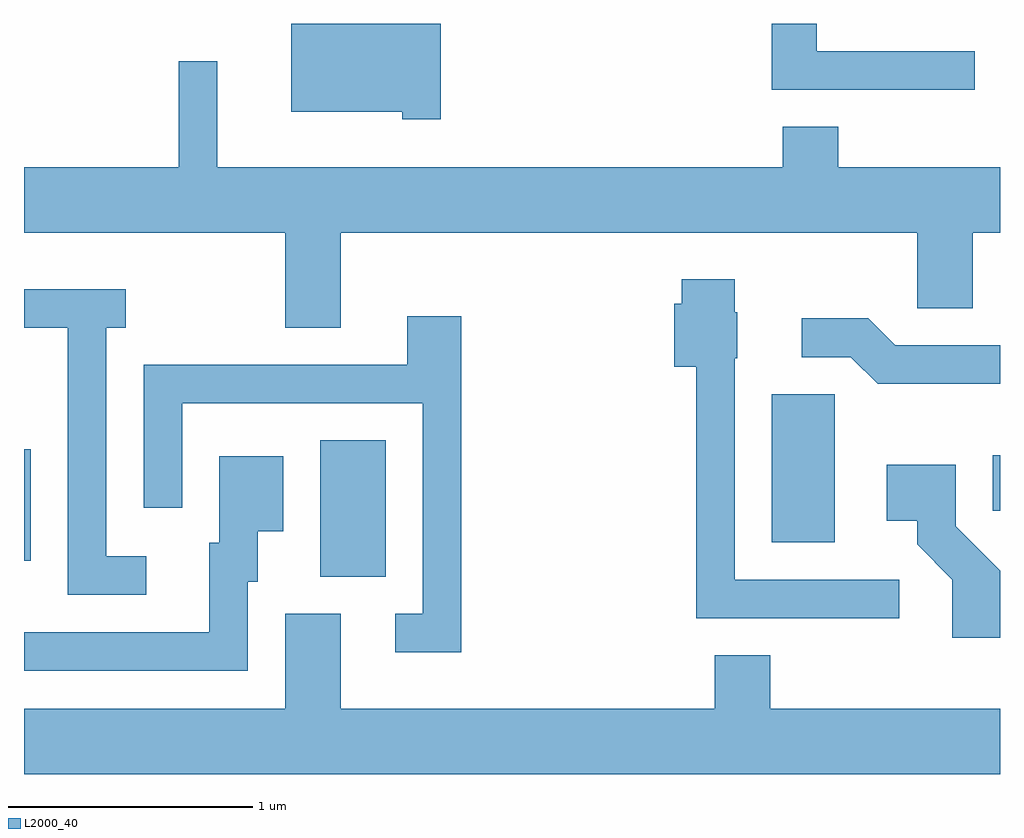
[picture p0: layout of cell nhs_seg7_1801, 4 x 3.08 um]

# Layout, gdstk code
import gdstk
lib = gdstk.Library(unit=1e-6, precision=1e-09)
def R(c, l, rs):  # rectangles x0, y0, x1, y1
    for r in rs: c.add(gdstk.rectangle(r[:2], r[2:], *l))
def P(c, l, *ps):  # polygons
    for p in ps: c.add(gdstk.Polygon(p, *l))
L2000_40 = (2000, 40)

nhs_seg7_1801 = lib.new_cell('nhs_seg7_1801')
R(nhs_seg7_1801, L2000_40, [(240.826,1743.986,241.094,1744.544), (239.611,1744.051,239.639,1744.509), (242.676,1744.126,242.934,1744.734), (243.581,1744.256,243.611,1744.484)])
P(nhs_seg7_1801, L2000_40, [(243.508,1746.139),(242.859,1746.139),(242.859,1746.252),(242.676,1746.252),(242.676,1745.981),(243.508,1745.981)],
  [(241.319,1746.252),(240.706,1746.252),(240.706,1745.891),(241.161,1745.891),(241.161,1745.861),(241.319,1745.861)],
  [(240.909,1745.396),(243.271,1745.396),(243.271,1745.086),(243.499,1745.086),(243.499,1745.396),(243.611,1745.396),(243.611,1745.664),(242.949,1745.664),(242.949,1745.829),(242.721,1745.829),(242.721,1745.664),(240.404,1745.664),(240.404,1746.098),(240.246,1746.098),(240.246,1745.664),(239.611,1745.664),(239.611,1745.396),(240.681,1745.396),(240.681,1745.006),(240.909,1745.006)],
  [(243.198,1743.974),(242.524,1743.974),(242.524,1744.88),(242.534,1744.88),(242.534,1745.07),(242.524,1745.07),(242.524,1745.204),(242.306,1745.204),(242.306,1745.104),(242.276,1745.104),(242.276,1744.846),(242.366,1744.846),(242.366,1743.816),(243.198,1743.816)],
  [(240.113,1744.069),(239.949,1744.069),(239.949,1745.006),(240.028,1745.006),(240.028,1745.164),(239.611,1745.164),(239.611,1745.006),(239.791,1745.006),(239.791,1743.911),(240.113,1743.911)],
  [(241.404,1745.054),(241.181,1745.054),(241.181,1744.854),(240.101,1744.854),(240.101,1744.268),(240.259,1744.268),(240.259,1744.696),(241.246,1744.696),(241.246,1743.834),(241.133,1743.834),(241.133,1743.676),(241.404,1743.676)],
  [(243.611,1744.934),(243.182,1744.934),(243.072,1745.044),(242.798,1745.044),(242.798,1744.886),(242.999,1744.886),(243.109,1744.776),(243.611,1744.776)],
  [(240.529,1743.966),(240.569,1743.966),(240.569,1744.171),(240.674,1744.171),(240.674,1744.479),(240.411,1744.479),(240.411,1744.124),(240.371,1744.124),(240.371,1743.759),(239.611,1743.759),(239.611,1743.601),(240.529,1743.601)],
  [(243.611,1744.01),(243.429,1744.192),(243.429,1744.444),(243.146,1744.444),(243.146,1744.216),(243.271,1744.216),(243.271,1744.119),(243.416,1743.974),(243.416,1743.736),(243.611,1743.736)],
  [(243.611,1743.444),(242.669,1743.444),(242.669,1743.664),(242.441,1743.664),(242.441,1743.444),(240.909,1743.444),(240.909,1743.834),(240.681,1743.834),(240.681,1743.444),(239.611,1743.444),(239.611,1743.176),(243.611,1743.176)])

lib.write_gds('nhs_seg7_1801.gds')
